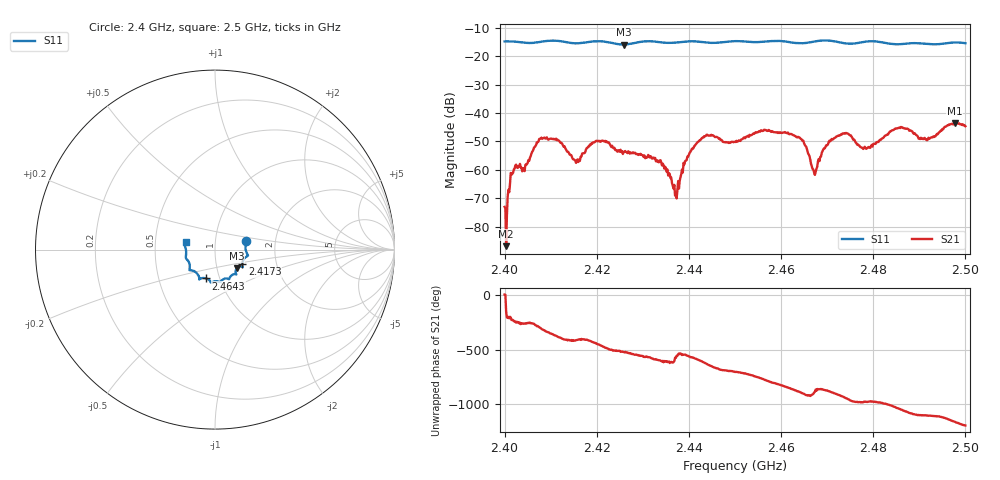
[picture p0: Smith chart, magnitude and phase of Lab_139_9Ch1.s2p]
# Hz S RI R 50
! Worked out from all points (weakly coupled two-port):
!   601 points, 2.4 GHz to 2.5 GHz, reference 50 ohm
!   highest |S21| = -43.66 dB at 2.4977 GHz (marker M1); lowest = -86.9 dB at 2.4003 GHz (marker M2)
!   lowest |S11| = -15.9 dB at 2.4258 GHz (marker M3), VSWR 1.38, Z = 62.2 - j13.3 ohm
!   |S11| at or under -10 dB: start of sweep to end of sweep
!   S12 and S22 are empty: the file has one direction only
!   S11 on the Smith chart (normalised r, x): 2.4 GHz: 1.41, +0.14; 2.4173 GHz: 1.34, -0.23; 2.4643 GHz: 0.86, -0.28; 2.5 GHz: 0.72, +0.06
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2.4e9  0.1738 0.0494  0.00022 3.02e-05  0 0  0 0
2.400333e9  0.1748 0.048  -3.82e-05 -2.43e-05  0 0  0 0
2.401833e9  0.1758 0.042  -0.000609 0.000639  0 0  0 0
2.404333e9  0.1709 0.0211  -0.000185 0.000928  0 0  0 0
2.408e9  0.1779 -0.0213  0.00222 0.00293  0 0  0 0
2.416667e9  0.1527 -0.0749  0.00133 -0.00108  0 0  0 0
2.417333e9  0.1521 -0.0822  0.00143 -0.00135  0 0  0 0
2.420833e9  0.1545 -0.0966  -0.000421 -0.00308  0 0  0 0
2.425833e9  0.1214 -0.1039  -0.00191 -0.000782  0 0  0 0
2.433333e9  0.1125 -0.1366  -0.000842 0.00108  0 0  0 0
2.437e9  0.0871 -0.1487  -0.0003 0.00018  0 0  0 0
2.442833e9  0.0707 -0.1621  -0.00152 0.00328  0 0  0 0
2.45e9  0.0294 -0.1809  0.00294 0.000983  0 0  0 0
2.456167e9  -0.00806 -0.1784  0.00327 -0.0036  0 0  0 0
2.464333e9  -0.0502 -0.1605  -0.00343 -0.000491  0 0  0 0
2.466667e9  -0.0763 -0.1596  -0.00111 0.000259  0 0  0 0
2.473e9  -0.0909 -0.1465  -0.00388 0.00155  0 0  0 0
2.478167e9  -0.1364 -0.1159  -0.000624 0.00246  0 0  0 0
2.483333e9  -0.1404 -0.0895  0.000907 0.00427  0 0  0 0
2.491833e9  -0.1611 -0.0272  0.00316 -0.00124  0 0  0 0
2.497667e9  -0.1711 0.0303  0.00144 -0.00641  0 0  0 0
2.5e9  -0.1635 0.0419  -0.0022 -0.00541  0 0  0 0
